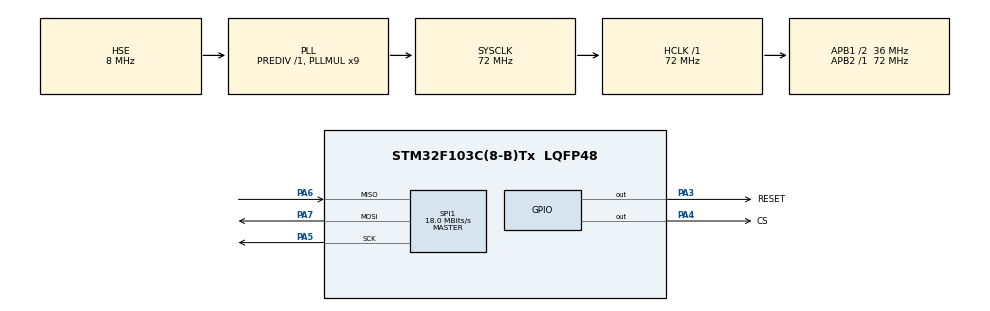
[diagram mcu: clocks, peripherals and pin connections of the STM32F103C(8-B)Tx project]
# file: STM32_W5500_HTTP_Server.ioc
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Mcu.Family=STM32F1
Mcu.Name=STM32F103C(8-B)Tx
Mcu.Package=LQFP48
NVIC.PriorityGroup=NVIC_PRIORITYGROUP_4
PA3.GPIO_Label=RESET
PA3.GPIO_Speed=GPIO_SPEED_FREQ_HIGH
PA3.PinState=GPIO_PIN_SET
PA3.Signal=GPIO_Output
PA4.GPIO_Label=CS
PA4.GPIO_Speed=GPIO_SPEED_FREQ_HIGH
PA4.PinState=GPIO_PIN_SET
PA4.Signal=GPIO_Output
PA5.Mode=Full_Duplex_Master
PA5.Signal=SPI1_SCK
PA6.Mode=Full_Duplex_Master
PA6.Signal=SPI1_MISO
PA7.Mode=Full_Duplex_Master
PA7.Signal=SPI1_MOSI
PD0-OSC_IN.Mode=HSE-External-Oscillator
PD0-OSC_IN.Signal=RCC_OSC_IN
PD1-OSC_OUT.Mode=HSE-External-Oscillator
PD1-OSC_OUT.Signal=RCC_OSC_OUT
ProjectManager.HeapSize=0x200
ProjectManager.StackSize=0x400
ProjectManager.TargetToolchain=STM32CubeIDE
RCC.AHBFreq_Value=72000000
RCC.APB1CLKDivider=RCC_HCLK_DIV2
RCC.APB1Freq_Value=36000000
RCC.APB1TimFreq_Value=72000000
RCC.APB2Freq_Value=72000000
RCC.APB2TimFreq_Value=72000000
RCC.HCLKFreq_Value=72000000
RCC.PLLMUL=RCC_PLL_MUL9
RCC.PLLSourceVirtual=RCC_PLLSOURCE_HSE
RCC.SYSCLKFreq_VALUE=72000000
RCC.SYSCLKSource=RCC_SYSCLKSOURCE_PLLCLK
RCC.USBFreq_Value=72000000
SPI1.BaudRatePrescaler=SPI_BAUDRATEPRESCALER_4
SPI1.CalculateBaudRate=18.0 MBits/s
SPI1.Direction=SPI_DIRECTION_2LINES
SPI1.Mode=SPI_MODE_MASTER
SPI1.VirtualType=VM_MASTER
VP_SYS_VS_ND.Mode=No_Debug
board=custom

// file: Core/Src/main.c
/* USER CODE BEGIN Header */
/**
 ******************************************************************************
 * @file           : main.c
 * @brief          : Main program body
 ******************************************************************************
 * @attention
 *
 * Copyright (c) 2026 STMicroelectronics.
 * All rights reserved.
 *
 * This software is licensed under terms that can be found in the LICENSE file
 * in the root directory of this software component.
 * If no LICENSE file comes with this software, it is provided AS-IS.
 *
 ******************************************************************************
 */
/* USER CODE END Header */
#include "main.h"

/* USER CODE BEGIN Includes */
#include "wizchip_conf.h"
#include "wizchip_port.h"
#include "dhcp.h"
#include "dns.h"
#include "socket.h"
#include "usart1.h"
#include "dwt.h"
#include "timer2.h"
#include "timer3.h"
#include "i2c2.h"
#include "dht11.h"
#include "ds3231.h"
#include "http_server.h"
/* USER CODE END Includes */

SPI_HandleTypeDef hspi1;

void SystemClock_Config(void);
static void MX_GPIO_Init(void);
static void MX_SPI1_Init(void);

int main(void)
{

  /* MCU Configuration--------------------------------------------------------*/

  /* Reset of all peripherals, Initializes the Flash interface and the Systick. */
  HAL_Init();

  /* Configure the system clock */
  SystemClock_Config();

  /* Initialize all configured peripherals */
  MX_GPIO_Init();
  MX_SPI1_Init();
  /* USER CODE BEGIN 2 */

  DWT_Init();
  TIMER2_Init();
  USART1_Init();
  I2C2_Init();
  DHT11_Init();
  DS3231_Init();

  // Welcome Message
  USART1_SendString("============================\r\n");
  USART1_SendString("STM32 Project Initialization\r\n");
  USART1_SendString("============================\r\n");

  DWT_Delay_ms(2000);

  // Initialize W5500 with DHCP
  if(W5500_Init() != 0)
  {
    USART1_SendString("ERROR: W5500 initialization failed!\r\n");
    Error_Handler();
  }

  HTTP_Server_Init();
  /* USER CODE END 2 */

  /* Infinite loop */
  while(1)
  {

    /* USER CODE BEGIN 3 */
    HTTP_Server_Run();
    HAL_Delay(10);
  }
  /* USER CODE END 3 */
}

void SystemClock_Config(void)
{
  RCC_OscInitTypeDef RCC_OscInitStruct = {0};
  RCC_ClkInitTypeDef RCC_ClkInitStruct = {0};

  /** Initializes the RCC Oscillators according to the specified parameters
   * in the RCC_OscInitTypeDef structure.
   */
  RCC_OscInitStruct.OscillatorType = RCC_OSCILLATORTYPE_HSE;
  RCC_OscInitStruct.HSEState = RCC_HSE_ON;
  RCC_OscInitStruct.HSEPredivValue = RCC_HSE_PREDIV_DIV1;
  RCC_OscInitStruct.HSIState = RCC_HSI_ON;
  RCC_OscInitStruct.PLL.PLLState = RCC_PLL_ON;
  RCC_OscInitStruct.PLL.PLLSource = RCC_PLLSOURCE_HSE;
  RCC_OscInitStruct.PLL.PLLMUL = RCC_PLL_MUL9;
  if(HAL_RCC_OscConfig(&RCC_OscInitStruct) != HAL_OK)
  {
    Error_Handler();
  }

  /** Initializes the CPU, AHB and APB buses clocks
   */
  RCC_ClkInitStruct.ClockType = RCC_CLOCKTYPE_HCLK | RCC_CLOCKTYPE_SYSCLK | RCC_CLOCKTYPE_PCLK1 | RCC_CLOCKTYPE_PCLK2;
  RCC_ClkInitStruct.SYSCLKSource = RCC_SYSCLKSOURCE_PLLCLK;
  RCC_ClkInitStruct.AHBCLKDivider = RCC_SYSCLK_DIV1;
  RCC_ClkInitStruct.APB1CLKDivider = RCC_HCLK_DIV2;
  RCC_ClkInitStruct.APB2CLKDivider = RCC_HCLK_DIV1;

  if(HAL_RCC_ClockConfig(&RCC_ClkInitStruct, FLASH_LATENCY_2) != HAL_OK)
  {
    Error_Handler();
  }
}

static void MX_SPI1_Init(void)
{

  /* SPI1 parameter configuration*/
  hspi1.Instance = SPI1;
  hspi1.Init.Mode = SPI_MODE_MASTER;
  hspi1.Init.Direction = SPI_DIRECTION_2LINES;
  hspi1.Init.DataSize = SPI_DATASIZE_8BIT;
  hspi1.Init.CLKPolarity = SPI_POLARITY_LOW;
  hspi1.Init.CLKPhase = SPI_PHASE_1EDGE;
  hspi1.Init.NSS = SPI_NSS_SOFT;
  hspi1.Init.BaudRatePrescaler = SPI_BAUDRATEPRESCALER_4;
  hspi1.Init.FirstBit = SPI_FIRSTBIT_MSB;
  hspi1.Init.TIMode = SPI_TIMODE_DISABLE;
  hspi1.Init.CRCCalculation = SPI_CRCCALCULATION_DISABLE;
  hspi1.Init.CRCPolynomial = 10;
  if(HAL_SPI_Init(&hspi1) != HAL_OK)
  {
    Error_Handler();
  }

}

static void MX_GPIO_Init(void)
{
  GPIO_InitTypeDef GPIO_InitStruct = {0};

  /* GPIO Ports Clock Enable */
  __HAL_RCC_GPIOD_CLK_ENABLE();
  __HAL_RCC_GPIOA_CLK_ENABLE();

  /*Configure GPIO pin Output Level */
  HAL_GPIO_WritePin(GPIOA, RESET_Pin | CS_Pin, GPIO_PIN_SET);

  /*Configure GPIO pins : RESET_Pin CS_Pin */
  GPIO_InitStruct.Pin = RESET_Pin | CS_Pin;
  GPIO_InitStruct.Mode = GPIO_MODE_OUTPUT_PP;
  GPIO_InitStruct.Pull = GPIO_NOPULL;
  GPIO_InitStruct.Speed = GPIO_SPEED_FREQ_HIGH;
  HAL_GPIO_Init(GPIOA, &GPIO_InitStruct);

}

void Error_Handler(void)
{
  __disable_irq();
  while(1)
  {
  }
}
